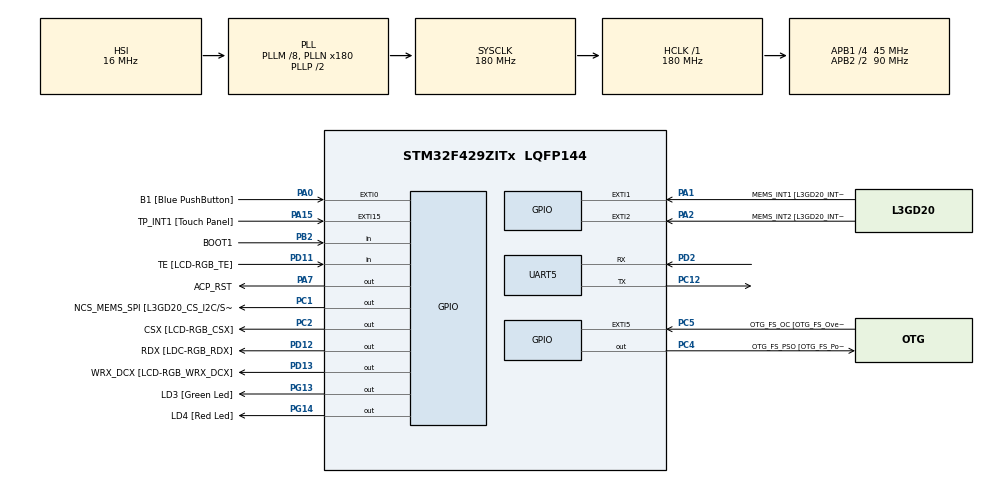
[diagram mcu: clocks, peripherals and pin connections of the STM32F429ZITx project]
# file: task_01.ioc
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FREERTOS.Tasks01=led_control_tas,0,128,LedControlTask,Default,NULL,Dynamic,NULL,NULL;uart_receive_ta,0,128,UartReceiveTask,Default,NULL,Dynamic,NULL,NULL
Mcu.Family=STM32F4
Mcu.Name=STM32F429ZITx
Mcu.Package=LQFP144
NVIC.PriorityGroup=NVIC_PRIORITYGROUP_4
NVIC.TIM6_DAC_IRQn=true\:15\:0\:false\:false\:true\:false\:false\:true\:true
NVIC.TimeBase=TIM6_DAC_IRQn
NVIC.TimeBaseIP=TIM6
PA0/WKUP.GPIO_Label=B1 [Blue PushButton]
PA0/WKUP.GPIO_ModeDefaultEXTI=GPIO_MODE_EVT_RISING
PA0/WKUP.GPIO_PuPd=GPIO_NOPULL
PA0/WKUP.Signal=GPXTI0
PA1.GPIO_Label=MEMS_INT1 [L3GD20_INT1]
PA1.GPIO_ModeDefaultEXTI=GPIO_MODE_EVT_RISING
PA1.GPIO_PuPd=GPIO_NOPULL
PA1.Signal=GPXTI1
PA10.GPIO_Label=STLINK_TX [STM32F103CBT6_PA2]
PA10.Signal=USART1_RX
PA11.GPIO_Label=R4
PA11.GPIO_Mode=GPIO_MODE_AF_PP
PA11.GPIO_PuPd=GPIO_NOPULL
PA11.GPIO_Speed=GPIO_SPEED_FREQ_LOW
PA11.Signal=LTDC_R4
PA12.GPIO_Label=R5
PA12.GPIO_Mode=GPIO_MODE_AF_PP
PA12.GPIO_PuPd=GPIO_NOPULL
PA12.GPIO_Speed=GPIO_SPEED_FREQ_LOW
PA12.Signal=LTDC_R5
PA13.GPIO_Label=SWDIO
PA13.Signal=SYS_JTMS-SWDIO
PA14.GPIO_Label=SWCLK
PA14.Signal=SYS_JTCK-SWCLK
PA15.GPIO_Label=TP_INT1 [Touch Panel]
PA15.GPIO_ModeDefaultEXTI=GPIO_MODE_EVT_RISING
PA15.GPIO_PuPd=GPIO_NOPULL
PA15.Signal=GPXTI15
PA2.GPIO_Label=MEMS_INT2 [L3GD20_INT2]
PA2.GPIO_ModeDefaultEXTI=GPIO_MODE_EVT_RISING
PA2.GPIO_PuPd=GPIO_NOPULL
PA2.Signal=GPXTI2
PA3.GPIO_Label=B5
PA3.GPIO_Mode=GPIO_MODE_AF_PP
PA3.GPIO_PuPd=GPIO_NOPULL
PA3.GPIO_Speed=GPIO_SPEED_FREQ_LOW
PA3.Signal=LTDC_B5
PA4.GPIO_Label=VSYNC
PA4.GPIO_Mode=GPIO_MODE_AF_PP
PA4.GPIO_PuPd=GPIO_NOPULL
PA4.GPIO_Speed=GPIO_SPEED_FREQ_LOW
PA4.Signal=LTDC_VSYNC
PA6.GPIO_Label=G2
PA6.GPIO_Mode=GPIO_MODE_AF_PP
PA6.GPIO_PuPd=GPIO_NOPULL
PA6.GPIO_Speed=GPIO_SPEED_FREQ_LOW
PA6.Signal=LTDC_G2
PA7.GPIO_Label=ACP_RST
PA7.GPIO_Mode=GPIO_MODE_OUTPUT_PP
PA7.GPIO_PuPd=GPIO_NOPULL
PA7.GPIO_Speed=GPIO_SPEED_FREQ_LOW
PA7.Signal=GPIO_Output
PA8.GPIO_Label=I2C3_SCL [ACP/RF_SCL]
PA8.GPIO_Mode=GPIO_MODE_AF_OD
PA8.GPIO_PuPd=GPIO_NOPULL
PA8.GPIO_Speed=GPIO_SPEED_FREQ_LOW
PA8.Signal=I2C3_SCL
PA9.GPIO_Label=STLINK_RX [STM32F103CBT6_PA3]
PA9.Signal=USART1_TX
PB0.GPIO_Label=R3
PB0.GPIO_Mode=GPIO_MODE_AF_PP
PB0.GPIO_PuPd=GPIO_NOPULL
PB0.GPIO_Speed=GPIO_SPEED_FREQ_LOW
PB0.Signal=LTDC_R3
PB1.GPIO_Label=R6
PB1.GPIO_Mode=GPIO_MODE_AF_PP
PB1.GPIO_PuPd=GPIO_NOPULL
PB1.GPIO_Speed=GPIO_SPEED_FREQ_LOW
PB1.Signal=LTDC_R6
PB10.GPIO_Label=G4
PB10.GPIO_Mode=GPIO_MODE_AF_PP
PB10.GPIO_PuPd=GPIO_NOPULL
PB10.GPIO_Speed=GPIO_SPEED_FREQ_LOW
PB10.Signal=LTDC_G4
PB11.GPIO_Label=G5
PB11.GPIO_Mode=GPIO_MODE_AF_PP
PB11.GPIO_PuPd=GPIO_NOPULL
PB11.GPIO_Speed=GPIO_SPEED_FREQ_LOW
PB11.Signal=LTDC_G5
PB12.GPIO_Label=OTG_HS_ID
PB12.GPIO_Mode=GPIO_MODE_AF_PP
PB12.GPIO_PuPd=GPIO_NOPULL
PB12.GPIO_Speed=GPIO_SPEED_FREQ_LOW
PB12.Signal=USB_OTG_HS_ID
PB13.GPIO_Label=VBUS_HS
PB13.GPIO_Mode=GPIO_MODE_INPUT
PB13.GPIO_PuPd=GPIO_NOPULL
PB13.Signal=USB_OTG_HS_VBUS
PB14.GPIO_Label=OTG_HS_DM
PB14.GPIO_Mode=GPIO_MODE_AF_PP
PB14.GPIO_PuPd=GPIO_NOPULL
PB14.GPIO_Speed=GPIO_SPEED_FREQ_LOW
PB14.Signal=USB_OTG_HS_DM
PB15.GPIO_Label=OTG_HS_DP
PB15.GPIO_Mode=GPIO_MODE_AF_PP
PB15.GPIO_PuPd=GPIO_NOPULL
PB15.GPIO_Speed=GPIO_SPEED_FREQ_LOW
PB15.Signal=USB_OTG_HS_DP
PB2/BOOT1.GPIO_Label=BOOT1
PB2/BOOT1.GPIO_Mode=GPIO_MODE_INPUT
PB2/BOOT1.GPIO_PuPd=GPIO_NOPULL
PB2/BOOT1.Signal=GPIO_Input
PB5.GPIO_Label=SDCKE1
PB5.GPIO_Mode=GPIO_MODE_AF_PP
PB5.GPIO_PuPd=GPIO_NOPULL
PB5.GPIO_Speed=GPIO_SPEED_FREQ_VERY_HIGH
PB5.Signal=FMC_SDCKE1
PB6.GPIO_Label=SDNE1 [SDRAM_CS]
PB6.GPIO_Mode=GPIO_MODE_AF_PP
PB6.GPIO_PuPd=GPIO_NOPULL
PB6.GPIO_Speed=GPIO_SPEED_FREQ_VERY_HIGH
PB6.Signal=FMC_SDNE1
PB8.GPIO_Label=B6
PB8.GPIO_Mode=GPIO_MODE_AF_PP
PB8.GPIO_PuPd=GPIO_NOPULL
PB8.GPIO_Speed=GPIO_SPEED_FREQ_LOW
PB8.Signal=LTDC_B6
PB9.GPIO_Label=B7
PB9.GPIO_Mode=GPIO_MODE_AF_PP
PB9.GPIO_PuPd=GPIO_NOPULL
PB9.GPIO_Speed=GPIO_SPEED_FREQ_LOW
PB9.Signal=LTDC_B7
PC0.GPIO_Label=SDNWE
PC0.GPIO_Mode=GPIO_MODE_AF_PP
PC0.GPIO_PuPd=GPIO_NOPULL
PC0.GPIO_Speed=GPIO_SPEED_FREQ_VERY_HIGH
PC0.Signal=FMC_SDNWE
PC1.GPIO_Label=NCS_MEMS_SPI [L3GD20_CS_I2C/SPI]
PC1.GPIO_Mode=GPIO_MODE_OUTPUT_PP
PC1.GPIO_PuPd=GPIO_NOPULL
PC1.GPIO_Speed=GPIO_SPEED_FREQ_LOW
PC1.Signal=GPIO_Output
PC10.GPIO_Label=R2
PC10.GPIO_Mode=GPIO_MODE_AF_PP
PC10.GPIO_PuPd=GPIO_NOPULL
PC10.GPIO_Speed=GPIO_SPEED_FREQ_LOW
PC10.Signal=LTDC_R2
PC12.Mode=Asynchronous
PC12.Signal=UART5_TX
PC14/OSC32_IN.GPIO_Label=PC14-OSC32_IN
PC14/OSC32_IN.Signal=RCC_OSC32_IN
PC15/OSC32_OUT.GPIO_Label=PC15-OSC32_OUT
PC15/OSC32_OUT.Signal=RCC_OSC32_OUT
PC2.GPIO_Label=CSX [LCD-RGB_CSX]
PC2.GPIO_Mode=GPIO_MODE_OUTPUT_PP
PC2.GPIO_PuPd=GPIO_NOPULL
PC2.GPIO_Speed=GPIO_SPEED_FREQ_LOW
PC2.Signal=GPIO_Output
PC4.GPIO_Label=OTG_FS_PSO [OTG_FS_PowerSwitchOn]
PC4.GPIO_Mode=GPIO_MODE_OUTPUT_PP
PC4.GPIO_PuPd=GPIO_NOPULL
PC4.GPIO_Speed=GPIO_SPEED_FREQ_LOW
PC4.Signal=GPIO_Output
PC5.GPIO_Label=OTG_FS_OC [OTG_FS_OverCurrent]
PC5.GPIO_ModeDefaultEXTI=GPIO_MODE_EVT_RISING
PC5.Signal=GPXTI5
PC6.GPIO_Label=HSYNC
PC6.GPIO_Mode=GPIO_MODE_AF_PP
PC6.GPIO_PuPd=GPIO_NOPULL
PC6.GPIO_Speed=GPIO_SPEED_FREQ_LOW
PC6.Signal=LTDC_HSYNC
PC7.GPIO_Label=G6
PC7.GPIO_Mode=GPIO_MODE_AF_PP
PC7.GPIO_PuPd=GPIO_NOPULL
PC7.GPIO_Speed=GPIO_SPEED_FREQ_LOW
PC7.Signal=LTDC_G6
PC9.GPIO_Label=I2C3_SDA [ACP/RF_SDA]
PC9.GPIO_Mode=GPIO_MODE_AF_OD
PC9.GPIO_PuPd=GPIO_NOPULL
PC9.GPIO_Speed=GPIO_SPEED_FREQ_LOW
PC9.Signal=I2C3_SDA
PD0.GPIO_Label=D2
PD0.GPIO_Mode=GPIO_MODE_AF_PP
PD0.GPIO_PuPd=GPIO_NOPULL
PD0.GPIO_Speed=GPIO_SPEED_FREQ_VERY_HIGH
PD0.Signal=FMC_D2_DA2
PD1.GPIO_Label=D3
PD1.GPIO_Mode=GPIO_MODE_AF_PP
PD1.GPIO_PuPd=GPIO_NOPULL
PD1.GPIO_Speed=GPIO_SPEED_FREQ_VERY_HIGH
PD1.Signal=FMC_D3_DA3
PD10.GPIO_Label=D15
PD10.GPIO_Mode=GPIO_MODE_AF_PP
PD10.GPIO_PuPd=GPIO_NOPULL
PD10.GPIO_Speed=GPIO_SPEED_FREQ_VERY_HIGH
PD10.Signal=FMC_D15_DA15
PD11.GPIO_Label=TE [LCD-RGB_TE]
PD11.GPIO_Mode=GPIO_MODE_INPUT
PD11.GPIO_PuPd=GPIO_NOPULL
PD11.Signal=GPIO_Input
PD12.GPIO_Label=RDX [LDC-RGB_RDX]
PD12.GPIO_Mode=GPIO_MODE_OUTPUT_PP
PD12.GPIO_PuPd=GPIO_NOPULL
PD12.GPIO_Speed=GPIO_SPEED_FREQ_LOW
PD12.Signal=GPIO_Output
PD13.GPIO_Label=WRX_DCX [LCD-RGB_WRX_DCX]
PD13.GPIO_Mode=GPIO_MODE_OUTPUT_PP
PD13.GPIO_PuPd=GPIO_NOPULL
PD13.GPIO_Speed=GPIO_SPEED_FREQ_LOW
PD13.Signal=GPIO_Output
PD14.GPIO_Label=D0
PD14.GPIO_Mode=GPIO_MODE_AF_PP
PD14.GPIO_PuPd=GPIO_NOPULL
PD14.GPIO_Speed=GPIO_SPEED_FREQ_VERY_HIGH
PD14.Signal=FMC_D0_DA0
PD15.GPIO_Label=D1
PD15.GPIO_Mode=GPIO_MODE_AF_PP
PD15.GPIO_PuPd=GPIO_NOPULL
PD15.GPIO_Speed=GPIO_SPEED_FREQ_VERY_HIGH
PD15.Signal=FMC_D1_DA1
PD2.Mode=Asynchronous
PD2.Signal=UART5_RX
PD3.GPIO_Label=G7
PD3.GPIO_Mode=GPIO_MODE_AF_PP
PD3.GPIO_PuPd=GPIO_NOPULL
PD3.GPIO_Speed=GPIO_SPEED_FREQ_LOW
PD3.Signal=LTDC_G7
PD6.GPIO_Label=B2
PD6.GPIO_Mode=GPIO_MODE_AF_PP
PD6.GPIO_PuPd=GPIO_NOPULL
PD6.GPIO_Speed=GPIO_SPEED_FREQ_LOW
PD6.Signal=LTDC_B2
PD8.GPIO_Label=D13
PD8.GPIO_Mode=GPIO_MODE_AF_PP
PD8.GPIO_PuPd=GPIO_NOPULL
PD8.GPIO_Speed=GPIO_SPEED_FREQ_VERY_HIGH
PD8.Signal=FMC_D13_DA13
PD9.GPIO_Label=D14
PD9.GPIO_Mode=GPIO_MODE_AF_PP
PD9.GPIO_PuPd=GPIO_NOPULL
PD9.GPIO_Speed=GPIO_SPEED_FREQ_VERY_HIGH
PD9.Signal=FMC_D14_DA14
PE0.GPIO_Label=NBL0 [SDRAM_LDQM]
PE0.GPIO_Mode=GPIO_MODE_AF_PP
PE0.GPIO_PuPd=GPIO_NOPULL
PE0.GPIO_Speed=GPIO_SPEED_FREQ_VERY_HIGH
PE0.Signal=FMC_NBL0
PE1.GPIO_Label=NBL1 [SDRAM_UDQM]
PE1.GPIO_Mode=GPIO_MODE_AF_PP
PE1.GPIO_PuPd=GPIO_NOPULL
PE1.GPIO_Speed=GPIO_SPEED_FREQ_VERY_HIGH
PE1.Signal=FMC_NBL1
PE10.GPIO_Label=D7
PE10.GPIO_Mode=GPIO_MODE_AF_PP
PE10.GPIO_PuPd=GPIO_NOPULL
PE10.GPIO_Speed=GPIO_SPEED_FREQ_VERY_HIGH
PE10.Signal=FMC_D7_DA7
PE11.GPIO_Label=D8
PE11.GPIO_Mode=GPIO_MODE_AF_PP
PE11.GPIO_PuPd=GPIO_NOPULL
PE11.GPIO_Speed=GPIO_SPEED_FREQ_VERY_HIGH
PE11.Signal=FMC_D8_DA8
PE12.GPIO_Label=D9
PE12.GPIO_Mode=GPIO_MODE_AF_PP
PE12.GPIO_PuPd=GPIO_NOPULL
PE12.GPIO_Speed=GPIO_SPEED_FREQ_VERY_HIGH
PE12.Signal=FMC_D9_DA9
PE13.GPIO_Label=D10
PE13.GPIO_Mode=GPIO_MODE_AF_PP
PE13.GPIO_PuPd=GPIO_NOPULL
PE13.GPIO_Speed=GPIO_SPEED_FREQ_VERY_HIGH
PE13.Signal=FMC_D10_DA10
PE14.GPIO_Label=D11
PE14.GPIO_Mode=GPIO_MODE_AF_PP
PE14.GPIO_PuPd=GPIO_NOPULL
PE14.GPIO_Speed=GPIO_SPEED_FREQ_VERY_HIGH
PE14.Signal=FMC_D11_DA11
PE15.GPIO_Label=D12
PE15.GPIO_Mode=GPIO_MODE_AF_PP
PE15.GPIO_PuPd=GPIO_NOPULL
PE15.GPIO_Speed=GPIO_SPEED_FREQ_VERY_HIGH
PE15.Signal=FMC_D12_DA12
PE7.GPIO_Label=D4
PE7.GPIO_Mode=GPIO_MODE_AF_PP
PE7.GPIO_PuPd=GPIO_NOPULL
PE7.GPIO_Speed=GPIO_SPEED_FREQ_VERY_HIGH
PE7.Signal=FMC_D4_DA4
PE8.GPIO_Label=D5
PE8.GPIO_Mode=GPIO_MODE_AF_PP
PE8.GPIO_PuPd=GPIO_NOPULL
PE8.GPIO_Speed=GPIO_SPEED_FREQ_VERY_HIGH
PE8.Signal=FMC_D5_DA5
PE9.GPIO_Label=D6
PE9.GPIO_Mode=GPIO_MODE_AF_PP
PE9.GPIO_PuPd=GPIO_NOPULL
PE9.GPIO_Speed=GPIO_SPEED_FREQ_VERY_HIGH
PE9.Signal=FMC_D6_DA6
PF0.GPIO_Label=A0
PF0.GPIO_Mode=GPIO_MODE_AF_PP
PF0.GPIO_PuPd=GPIO_NOPULL
PF0.GPIO_Speed=GPIO_SPEED_FREQ_VERY_HIGH
PF0.Signal=FMC_A0
PF1.GPIO_Label=A1
PF1.GPIO_Mode=GPIO_MODE_AF_PP
PF1.GPIO_PuPd=GPIO_NOPULL
PF1.GPIO_Speed=GPIO_SPEED_FREQ_VERY_HIGH
PF1.Signal=FMC_A1
PF10.GPIO_Label=ENABLE [LCD-RGB_ENABLE]
PF10.GPIO_Mode=GPIO_MODE_AF_PP
PF10.GPIO_PuPd=GPIO_NOPULL
PF10.GPIO_Speed=GPIO_SPEED_FREQ_LOW
PF10.Signal=LTDC_DE
PF11.GPIO_Label=SDNRAS
PF11.GPIO_Mode=GPIO_MODE_AF_PP
PF11.GPIO_PuPd=GPIO_NOPULL
PF11.GPIO_Speed=GPIO_SPEED_FREQ_VERY_HIGH
PF11.Signal=FMC_SDNRAS
PF12.GPIO_Label=A6
PF12.GPIO_Mode=GPIO_MODE_AF_PP
PF12.GPIO_PuPd=GPIO_NOPULL
PF12.GPIO_Speed=GPIO_SPEED_FREQ_VERY_HIGH
PF12.Signal=FMC_A6
PF13.GPIO_Label=A7
PF13.GPIO_Mode=GPIO_MODE_AF_PP
PF13.GPIO_PuPd=GPIO_NOPULL
PF13.GPIO_Speed=GPIO_SPEED_FREQ_VERY_HIGH
PF13.Signal=FMC_A7
PF14.GPIO_Label=A8
PF14.GPIO_Mode=GPIO_MODE_AF_PP
PF14.GPIO_PuPd=GPIO_NOPULL
PF14.GPIO_Speed=GPIO_SPEED_FREQ_VERY_HIGH
PF14.Signal=FMC_A8
PF15.GPIO_Label=A9
PF15.GPIO_Mode=GPIO_MODE_AF_PP
PF15.GPIO_PuPd=GPIO_NOPULL
PF15.GPIO_Speed=GPIO_SPEED_FREQ_VERY_HIGH
PF15.Signal=FMC_A9
PF2.GPIO_Label=A2
PF2.GPIO_Mode=GPIO_MODE_AF_PP
PF2.GPIO_PuPd=GPIO_NOPULL
PF2.GPIO_Speed=GPIO_SPEED_FREQ_VERY_HIGH
PF2.Signal=FMC_A2
PF3.GPIO_Label=A3
PF3.GPIO_Mode=GPIO_MODE_AF_PP
PF3.GPIO_PuPd=GPIO_NOPULL
PF3.GPIO_Speed=GPIO_SPEED_FREQ_VERY_HIGH
PF3.Signal=FMC_A3
PF4.GPIO_Label=A4
PF4.GPIO_Mode=GPIO_MODE_AF_PP
PF4.GPIO_PuPd=GPIO_NOPULL
PF4.GPIO_Speed=GPIO_SPEED_FREQ_VERY_HIGH
PF4.Signal=FMC_A4
PF5.GPIO_Label=A5
PF5.GPIO_Mode=GPIO_MODE_AF_PP
PF5.GPIO_PuPd=GPIO_NOPULL
PF5.GPIO_Speed=GPIO_SPEED_FREQ_VERY_HIGH
PF5.Signal=FMC_A5
PF7.GPIO_Label=SPI5_SCK [L3GD20_SCL/SPC]
PF7.GPIO_Mode=GPIO_MODE_AF_PP
PF7.GPIO_PuPd=GPIO_NOPULL
PF7.GPIO_Speed=GPIO_SPEED_FREQ_LOW
PF7.Signal=SPI5_SCK
PF8.GPIO_Label=SPI5_MISO [L3GD20_SDO]
PF8.GPIO_Mode=GPIO_MODE_AF_PP
PF8.GPIO_PuPd=GPIO_NOPULL
PF8.GPIO_Speed=GPIO_SPEED_FREQ_LOW
PF8.Signal=SPI5_MISO
PF9.GPIO_Label=SPI5_MOSI [L3GD20_SDA/SDI/SDO]
PF9.GPIO_Mode=GPIO_MODE_AF_PP
PF9.GPIO_PuPd=GPIO_NOPULL
PF9.GPIO_Speed=GPIO_SPEED_FREQ_LOW
PF9.Signal=SPI5_MOSI
PG0.GPIO_Label=A10
PG0.GPIO_Mode=GPIO_MODE_AF_PP
PG0.GPIO_PuPd=GPIO_NOPULL
PG0.GPIO_Speed=GPIO_SPEED_FREQ_VERY_HIGH
PG0.Signal=FMC_A10
PG1.GPIO_Label=A11
PG1.GPIO_Mode=GPIO_MODE_AF_PP
PG1.GPIO_PuPd=GPIO_NOPULL
PG1.GPIO_Speed=GPIO_SPEED_FREQ_VERY_HIGH
PG1.Signal=FMC_A11
PG10.GPIO_Label=G3
PG10.GPIO_Mode=GPIO_MODE_AF_PP
PG10.GPIO_PuPd=GPIO_NOPULL
PG10.GPIO_Speed=GPIO_SPEED_FREQ_LOW
PG10.Signal=LTDC_G3
PG11.GPIO_Label=B3
PG11.GPIO_Mode=GPIO_MODE_AF_PP
PG11.GPIO_PuPd=GPIO_NOPULL
PG11.GPIO_Speed=GPIO_SPEED_FREQ_LOW
PG11.Signal=LTDC_B3
PG12.GPIO_Label=B4
PG12.GPIO_Mode=GPIO_MODE_AF_PP
PG12.GPIO_PuPd=GPIO_NOPULL
PG12.GPIO_Speed=GPIO_SPEED_FREQ_LOW
PG12.Signal=LTDC_B4
PG13.GPIO_Label=LD3 [Green Led]
PG13.GPIO_Mode=GPIO_MODE_OUTPUT_PP
PG13.GPIO_PuPd=GPIO_NOPULL
PG13.GPIO_Speed=GPIO_SPEED_FREQ_LOW
PG13.Signal=GPIO_Output
PG14.GPIO_Label=LD4 [Red Led]
PG14.GPIO_Mode=GPIO_MODE_OUTPUT_PP
PG14.GPIO_PuPd=GPIO_NOPULL
PG14.GPIO_Speed=GPIO_SPEED_FREQ_LOW
PG14.Signal=GPIO_Output
PG15.GPIO_Label=SDNCAS
PG15.GPIO_Mode=GPIO_MODE_AF_PP
PG15.GPIO_PuPd=GPIO_NOPULL
PG15.GPIO_Speed=GPIO_SPEED_FREQ_VERY_HIGH
PG15.Signal=FMC_SDNCAS
PG4.GPIO_Label=BA0
PG4.GPIO_Mode=GPIO_MODE_AF_PP
PG4.GPIO_PuPd=GPIO_NOPULL
PG4.GPIO_Speed=GPIO_SPEED_FREQ_VERY_HIGH
PG4.Signal=FMC_A14_BA0
PG5.GPIO_Label=BA1
PG5.GPIO_Mode=GPIO_MODE_AF_PP
PG5.GPIO_PuPd=GPIO_NOPULL
PG5.GPIO_Speed=GPIO_SPEED_FREQ_VERY_HIGH
PG5.Signal=FMC_A15_BA1
PG6.GPIO_Label=R7
PG6.GPIO_Mode=GPIO_MODE_AF_PP
PG6.GPIO_PuPd=GPIO_NOPULL
PG6.GPIO_Speed=GPIO_SPEED_FREQ_LOW
PG6.Signal=LTDC_R7
PG7.GPIO_Label=DOTCLK [LCT-RGB_DOTCLK]
PG7.GPIO_Mode=GPIO_MODE_AF_PP
PG7.GPIO_PuPd=GPIO_NOPULL
PG7.GPIO_Speed=GPIO_SPEED_FREQ_LOW
PG7.Signal=LTDC_CLK
PG8.GPIO_Label=SDCLK
PG8.GPIO_Mode=GPIO_MODE_AF_PP
PG8.GPIO_PuPd=GPIO_NOPULL
PG8.GPIO_Speed=GPIO_SPEED_FREQ_VERY_HIGH
PG8.Signal=FMC_SDCLK
PH0/OSC_IN.GPIO_Label=PH0-OSC_IN
PH0/OSC_IN.Signal=RCC_OSC_IN
PH1/OSC_OUT.GPIO_Label=PH1-OSC_OUT
PH1/OSC_OUT.Signal=RCC_OSC_OUT
ProjectManager.HeapSize=0x200
ProjectManager.StackSize=0x400
ProjectManager.TargetToolchain=Makefile
RCC.48MHZClocksFreq_Value=51428571.428571425
RCC.AHBFreq_Value=180000000
RCC.APB1CLKDivider=RCC_HCLK_DIV4
RCC.APB1Freq_Value=45000000
RCC.APB1TimFreq_Value=90000000
RCC.APB2CLKDivider=RCC_HCLK_DIV2
RCC.APB2Freq_Value=90000000
RCC.APB2TimFreq_Value=180000000
RCC.CortexFreq_Value=180000000
RCC.HCLKFreq_Value=180000000
RCC.HSE_VALUE=8000000
RCC.HSI_VALUE=16000000
RCC.LSE_VALUE=32768
RCC.PLLM=8
RCC.PLLN=180
RCC.PLLQ=7
RCC.SYSCLKFreq_VALUE=180000000
RCC.SYSCLKSource=RCC_SYSCLKSOURCE_PLLCLK
RCC.VCOOutputFreq_Value=360000000
SH.FMC_A0.0=FMC_A0
SH.FMC_A1.0=FMC_A1
SH.FMC_A10.0=FMC_A10
SH.FMC_A11.0=FMC_A11
SH.FMC_A14_BA0.0=FMC_BA0
SH.FMC_A15_BA1.0=FMC_BA1
SH.FMC_A2.0=FMC_A2
SH.FMC_A3.0=FMC_A3
SH.FMC_A4.0=FMC_A4
SH.FMC_A5.0=FMC_A5
SH.FMC_A6.0=FMC_A6
SH.FMC_A7.0=FMC_A7
SH.FMC_A8.0=FMC_A8
SH.FMC_A9.0=FMC_A9
SH.FMC_D0_DA0.0=FMC_D0
SH.FMC_D10_DA10.0=FMC_D10
SH.FMC_D11_DA11.0=FMC_D11
SH.FMC_D12_DA12.0=FMC_D12
SH.FMC_D13_DA13.0=FMC_D13
SH.FMC_D14_DA14.0=FMC_D14
SH.FMC_D15_DA15.0=FMC_D15
SH.FMC_D1_DA1.0=FMC_D1
SH.FMC_D2_DA2.0=FMC_D2
SH.FMC_D3_DA3.0=FMC_D3
SH.FMC_D4_DA4.0=FMC_D4
SH.FMC_D5_DA5.0=FMC_D5
SH.FMC_D6_DA6.0=FMC_D6
SH.FMC_D7_DA7.0=FMC_D7
SH.FMC_D8_DA8.0=FMC_D8
SH.FMC_D9_DA9.0=FMC_D9
SH.FMC_NBL0.0=FMC_NBL0
SH.FMC_NBL1.0=FMC_NBL1
SH.FMC_SDCLK.0=FMC_SDCLK
SH.FMC_SDNCAS.0=FMC_SDNCAS
SH.FMC_SDNRAS.0=FMC_SDNRAS
SH.FMC_SDNWE.0=FMC_SDNWE
UART5.VirtualMode=Asynchronous
VP_FREERTOS_VS_CMSIS_V1.Mode=CMSIS_V1
VP_SYS_VS_tim6.Mode=TIM6
board=STM32F429I-DISC1

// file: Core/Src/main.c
/* USER CODE BEGIN Header */
/**
  ******************************************************************************
  * @file           : main.c
  * @brief          : Main program body
  ******************************************************************************
  * @attention
  *
  * Copyright (c) 2023 STMicroelectronics.
  * All rights reserved.
  *
  * This software is licensed under terms that can be found in the LICENSE file
  * in the root directory of this software component.
  * If no LICENSE file comes with this software, it is provided AS-IS.
  *
  ******************************************************************************
  */
/* USER CODE END Header */
#include "main.h"
#include "cmsis_os.h"
#include "usart.h"
#include "gpio.h"

void SystemClock_Config(void);
void MX_FREERTOS_Init(void);

int main(void)
{

  /* MCU Configuration--------------------------------------------------------*/

  /* Reset of all peripherals, Initializes the Flash interface and the Systick. */
  HAL_Init();

  /* Configure the system clock */
  SystemClock_Config();

  /* Initialize all configured peripherals */
  MX_GPIO_Init();
  MX_UART5_Init();

  /* Call init function for freertos objects (in freertos.c) */
  MX_FREERTOS_Init();

  /* Start scheduler */
  osKernelStart();

  /* We should never get here as control is now taken by the scheduler */
  /* Infinite loop */
  while (1)
  {

  }
}

void SystemClock_Config(void)
{
  RCC_OscInitTypeDef RCC_OscInitStruct = {0};
  RCC_ClkInitTypeDef RCC_ClkInitStruct = {0};

  /** Configure the main internal regulator output voltage
  */
  __HAL_RCC_PWR_CLK_ENABLE();
  __HAL_PWR_VOLTAGESCALING_CONFIG(PWR_REGULATOR_VOLTAGE_SCALE1);

  /** Initializes the RCC Oscillators according to the specified parameters
  * in the RCC_OscInitTypeDef structure.
  */
  RCC_OscInitStruct.OscillatorType = RCC_OSCILLATORTYPE_HSI;
  RCC_OscInitStruct.HSIState = RCC_HSI_ON;
  RCC_OscInitStruct.HSICalibrationValue = RCC_HSICALIBRATION_DEFAULT;
  RCC_OscInitStruct.PLL.PLLState = RCC_PLL_ON;
  RCC_OscInitStruct.PLL.PLLSource = RCC_PLLSOURCE_HSI;
  RCC_OscInitStruct.PLL.PLLM = 8;
  RCC_OscInitStruct.PLL.PLLN = 180;
  RCC_OscInitStruct.PLL.PLLP = RCC_PLLP_DIV2;
  RCC_OscInitStruct.PLL.PLLQ = 7;
  if (HAL_RCC_OscConfig(&RCC_OscInitStruct) != HAL_OK)
  {
    Error_Handler();
  }

  /** Activate the Over-Drive mode
  */
  if (HAL_PWREx_EnableOverDrive() != HAL_OK)
  {
    Error_Handler();
  }

  /** Initializes the CPU, AHB and APB buses clocks
  */
  RCC_ClkInitStruct.ClockType = RCC_CLOCKTYPE_HCLK|RCC_CLOCKTYPE_SYSCLK
                              |RCC_CLOCKTYPE_PCLK1|RCC_CLOCKTYPE_PCLK2;
  RCC_ClkInitStruct.SYSCLKSource = RCC_SYSCLKSOURCE_PLLCLK;
  RCC_ClkInitStruct.AHBCLKDivider = RCC_SYSCLK_DIV1;
  RCC_ClkInitStruct.APB1CLKDivider = RCC_HCLK_DIV4;
  RCC_ClkInitStruct.APB2CLKDivider = RCC_HCLK_DIV2;

  if (HAL_RCC_ClockConfig(&RCC_ClkInitStruct, FLASH_LATENCY_5) != HAL_OK)
  {
    Error_Handler();
  }
}

void HAL_TIM_PeriodElapsedCallback(TIM_HandleTypeDef *htim)
{
  if (htim->Instance == TIM6) {
    HAL_IncTick();
  }
}

void Error_Handler(void)
{
  __disable_irq();
  while (1)
  {
  }
}

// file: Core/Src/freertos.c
/* USER CODE BEGIN Header */
/**
  ******************************************************************************
  * File Name          : freertos.c
  * Description        : Code for freertos applications
  ******************************************************************************
  * @attention
  *
  * Copyright (c) 2023 STMicroelectronics.
  * All rights reserved.
  *
  * This software is licensed under terms that can be found in the LICENSE file
  * in the root directory of this software component.
  * If no LICENSE file comes with this software, it is provided AS-IS.
  *
  ******************************************************************************
  */
/* USER CODE END Header */

#include "FreeRTOS.h"
#include "task.h"
#include "main.h"
#include "cmsis_os.h"

/* USER CODE BEGIN Includes */
#include <stdio.h>
#include "usart.h"
/* USER CODE END Includes */

/* USER CODE BEGIN Variables */
uint32_t delay_time = 1000;
/* USER CODE END Variables */
osThreadId led_control_tasHandle;
osThreadId uart_receive_taHandle;

void LedControlTask(void const * argument);
void UartReceiveTask(void const * argument);

void MX_FREERTOS_Init(void); /* (MISRA C 2004 rule 8.1) */

/* GetIdleTaskMemory prototype (linked to static allocation support) */
void vApplicationGetIdleTaskMemory( StaticTask_t **ppxIdleTaskTCBBuffer, StackType_t **ppxIdleTaskStackBuffer, uint32_t *pulIdleTaskStackSize );

/* USER CODE BEGIN GET_IDLE_TASK_MEMORY */
static StaticTask_t xIdleTaskTCBBuffer;
static StackType_t xIdleStack[configMINIMAL_STACK_SIZE];

void vApplicationGetIdleTaskMemory( StaticTask_t **ppxIdleTaskTCBBuffer, StackType_t **ppxIdleTaskStackBuffer, uint32_t *pulIdleTaskStackSize )
{
  *ppxIdleTaskTCBBuffer = &xIdleTaskTCBBuffer;
  *ppxIdleTaskStackBuffer = &xIdleStack[0];
  *pulIdleTaskStackSize = configMINIMAL_STACK_SIZE;
  /* place for user code */
}
/* USER CODE END GET_IDLE_TASK_MEMORY */

void MX_FREERTOS_Init(void) {

  /* Create the thread(s) */
  /* definition and creation of led_control_tas */
  osThreadDef(led_control_tas, LedControlTask, osPriorityNormal, 0, 128);
  led_control_tasHandle = osThreadCreate(osThread(led_control_tas), NULL);

  /* definition and creation of uart_receive_ta */
  osThreadDef(uart_receive_ta, UartReceiveTask, osPriorityNormal, 0, 128);
  uart_receive_taHandle = osThreadCreate(osThread(uart_receive_ta), NULL);

}

void LedControlTask(void const * argument)
{
  /* USER CODE BEGIN LedControlTask */
  /* Infinite loop */
  char msg[] = "toggle LED\r\n";
  for(;;)
  {
    HAL_UART_Transmit(&huart5, (uint8_t*)msg, sizeof(msg), 100);
    HAL_GPIO_TogglePin(LD3_GPIO_Port, LD3_Pin);
    osDelay(delay_time);
  }
  /* USER CODE END LedControlTask */
}

void UartReceiveTask(void const * argument)
{
  /* USER CODE BEGIN UartReceiveTask */
  /* Infinite loop */
  char buffer[30] = {0};
  uint8_t byte = 0;
  uint32_t local_time = 0;

  for(;;)
  {
    HAL_UART_Receive(&huart5, &byte, 1, 100);

    if (byte != 0) {
      // echo back
      HAL_UART_Transmit(&huart5, &byte, 1, 100);

      if ((char)byte == '\r') {
        delay_time = local_time;
        local_time = 0;

        // debug print
        int size = sprintf(buffer, "updated delay: %ld\r\n", delay_time);
        HAL_UART_Transmit(&huart5, (uint8_t*)buffer, size+2, 100);
      } else if ((char)byte >= '0' && (char)byte <= '9'){
        local_time = local_time * 10 + byte - 48;
      }

      // clear after used
      byte = 0;
    }

    osDelay(10);
  }
  /* USER CODE END UartReceiveTask */
}
